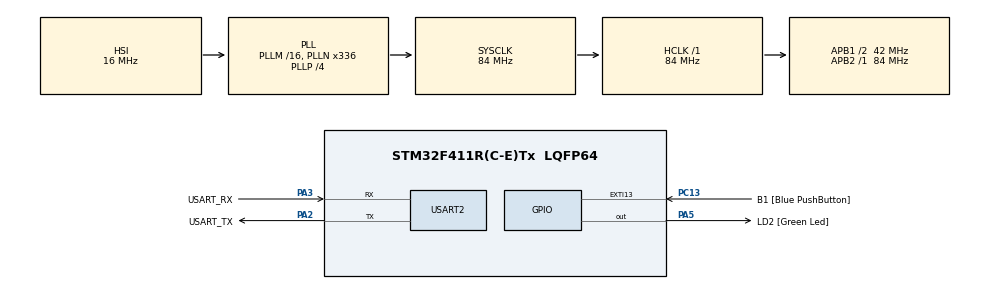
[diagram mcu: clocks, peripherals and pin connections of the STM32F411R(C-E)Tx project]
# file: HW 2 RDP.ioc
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Mcu.Family=STM32F4
Mcu.Name=STM32F411R(C-E)Tx
Mcu.Package=LQFP64
NVIC.PriorityGroup=NVIC_PRIORITYGROUP_0
PA13.GPIO_Label=TMS
PA13.Mode=Serial_Wire
PA13.Signal=SYS_JTMS-SWDIO
PA14.GPIO_Label=TCK
PA14.Mode=Serial_Wire
PA14.Signal=SYS_JTCK-SWCLK
PA2.GPIO_Label=USART_TX
PA2.Mode=Asynchronous
PA2.Signal=USART2_TX
PA3.GPIO_Label=USART_RX
PA3.Mode=Asynchronous
PA3.Signal=USART2_RX
PA5.GPIO_Label=LD2 [Green Led]
PA5.Signal=GPIO_Output
PB3.GPIO_Label=SWO
PB3.Signal=SYS_JTDO-SWO
PC13-ANTI_TAMP.GPIO_Label=B1 [Blue PushButton]
PC13-ANTI_TAMP.GPIO_ModeDefaultEXTI=GPIO_MODE_IT_FALLING
PC13-ANTI_TAMP.Signal=GPXTI13
PC14-OSC32_IN.Mode=LSE-External-Oscillator
PC14-OSC32_IN.Signal=RCC_OSC32_IN
PC15-OSC32_OUT.Mode=LSE-External-Oscillator
PC15-OSC32_OUT.Signal=RCC_OSC32_OUT
PH0\ -\ OSC_IN.Mode=HSE-External-Clock-Source
PH0\ -\ OSC_IN.Signal=RCC_OSC_IN
PH1\ -\ OSC_OUT.Mode=HSE-External-Clock-Source
PH1\ -\ OSC_OUT.Signal=RCC_OSC_OUT
ProjectManager.HeapSize=0x200
ProjectManager.StackSize=0x400
ProjectManager.TargetToolchain=STM32CubeIDE
RCC.48MHZClocksFreq_Value=84000000
RCC.AHBFreq_Value=84000000
RCC.APB1CLKDivider=RCC_HCLK_DIV2
RCC.APB1Freq_Value=42000000
RCC.APB1TimFreq_Value=84000000
RCC.APB2Freq_Value=84000000
RCC.APB2TimFreq_Value=84000000
RCC.CortexFreq_Value=84000000
RCC.FLatency-AdvancedSettings=FLASH_LATENCY_2
RCC.HCLKFreq_Value=84000000
RCC.HSE_VALUE=8000000
RCC.HSI_VALUE=16000000
RCC.PLLN=336
RCC.PLLP=RCC_PLLP_DIV4
RCC.SYSCLKFreq_VALUE=84000000
RCC.SYSCLKSource=RCC_SYSCLKSOURCE_PLLCLK
RCC.VCOOutputFreq_Value=336000000
USART2.VirtualMode=VM_ASYNC
board=NUCLEO-F411RE

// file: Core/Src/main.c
/* USER CODE BEGIN Header */
/**
  ******************************************************************************
  * @file           : main.c
  * @brief          : Main program body
  ******************************************************************************
  * @attention
  *
  * Copyright (c) 2026 STMicroelectronics.
  * All rights reserved.
  *
  * This software is licensed under terms that can be found in the LICENSE file
  * in the root directory of this software component.
  * If no LICENSE file comes with this software, it is provided AS-IS.
  *
  ******************************************************************************
  */
/* USER CODE END Header */
#include "main.h"

/* USER CODE BEGIN Includes */
#include "stm32f4xx_hal_flash.h"
/* USER CODE END Includes */

UART_HandleTypeDef huart2;

void SystemClock_Config(void);
static void MX_GPIO_Init(void);
static void MX_USART2_UART_Init(void);

/* USER CODE BEGIN PFP */

static void Set_RDP_Level1(void);

/* USER CODE END PFP */

/* USER CODE BEGIN 0 */

static void Set_RDP_Level1(void) {
    FLASH_OBProgramInitTypeDef FLASH_OBInitStruct;

    // Разблокировка Flash и Option Bytes
    HAL_FLASH_Unlock();
    HAL_FLASH_OB_Unlock();

    // Получение текущей конфигурации
    HAL_FLASHEx_OBGetConfig(&FLASH_OBInitStruct);

    // Настройка RDP Level 1
    FLASH_OBInitStruct.OptionType = OPTIONBYTE_RDP;
    FLASH_OBInitStruct.RDPLevel = OB_RDP_LEVEL_1;

    // Программирование Option Bytes
    HAL_FLASHEx_OBProgram(&FLASH_OBInitStruct);

    // Запуск загрузки Option Bytes (вызовет сброс)
    HAL_FLASH_OB_Launch();

    // Блокировка (до сюда может не дойти из-за сброса)
    HAL_FLASH_OB_Lock();
    HAL_FLASH_Lock();
}

/* USER CODE END 0 */

int main(void)
{

  /* MCU Configuration--------------------------------------------------------*/

  /* Reset of all peripherals, Initializes the Flash interface and the Systick. */
  HAL_Init();

  /* Configure the system clock */
  SystemClock_Config();

  /* Initialize all configured peripherals */
  MX_GPIO_Init();
  MX_USART2_UART_Init();

  /* Infinite loop */
  /* USER CODE BEGIN WHILE */
  while (1)
  {
      // Проверка кнопки (PC13 - USER Button на Nucleo)
       if(HAL_GPIO_ReadPin(GPIOC, GPIO_PIN_13) == GPIO_PIN_RESET) {
           HAL_Delay(50); // антидребезг
           if(HAL_GPIO_ReadPin(GPIOC, GPIO_PIN_13) == GPIO_PIN_RESET) {
               Set_RDP_Level1();  // Установка защиты
           }
       }

       // Мигаем LED (PA5) - программа работает
       HAL_GPIO_TogglePin(GPIOA, GPIO_PIN_5);
       HAL_Delay(500);
    /* USER CODE END WHILE */

  }
}

void SystemClock_Config(void)
{
  RCC_OscInitTypeDef RCC_OscInitStruct = {0};
  RCC_ClkInitTypeDef RCC_ClkInitStruct = {0};

  /** Configure the main internal regulator output voltage
  */
  __HAL_RCC_PWR_CLK_ENABLE();
  __HAL_PWR_VOLTAGESCALING_CONFIG(PWR_REGULATOR_VOLTAGE_SCALE1);

  /** Initializes the RCC Oscillators according to the specified parameters
  * in the RCC_OscInitTypeDef structure.
  */
  RCC_OscInitStruct.OscillatorType = RCC_OSCILLATORTYPE_HSI;
  RCC_OscInitStruct.HSIState = RCC_HSI_ON;
  RCC_OscInitStruct.HSICalibrationValue = RCC_HSICALIBRATION_DEFAULT;
  RCC_OscInitStruct.PLL.PLLState = RCC_PLL_ON;
  RCC_OscInitStruct.PLL.PLLSource = RCC_PLLSOURCE_HSI;
  RCC_OscInitStruct.PLL.PLLM = 16;
  RCC_OscInitStruct.PLL.PLLN = 336;
  RCC_OscInitStruct.PLL.PLLP = RCC_PLLP_DIV4;
  RCC_OscInitStruct.PLL.PLLQ = 4;
  if (HAL_RCC_OscConfig(&RCC_OscInitStruct) != HAL_OK)
  {
    Error_Handler();
  }

  /** Initializes the CPU, AHB and APB buses clocks
  */
  RCC_ClkInitStruct.ClockType = RCC_CLOCKTYPE_HCLK|RCC_CLOCKTYPE_SYSCLK
                              |RCC_CLOCKTYPE_PCLK1|RCC_CLOCKTYPE_PCLK2;
  RCC_ClkInitStruct.SYSCLKSource = RCC_SYSCLKSOURCE_PLLCLK;
  RCC_ClkInitStruct.AHBCLKDivider = RCC_SYSCLK_DIV1;
  RCC_ClkInitStruct.APB1CLKDivider = RCC_HCLK_DIV2;
  RCC_ClkInitStruct.APB2CLKDivider = RCC_HCLK_DIV1;

  if (HAL_RCC_ClockConfig(&RCC_ClkInitStruct, FLASH_LATENCY_2) != HAL_OK)
  {
    Error_Handler();
  }
}

static void MX_USART2_UART_Init(void)
{

  huart2.Instance = USART2;
  huart2.Init.BaudRate = 115200;
  huart2.Init.WordLength = UART_WORDLENGTH_8B;
  huart2.Init.StopBits = UART_STOPBITS_1;
  huart2.Init.Parity = UART_PARITY_NONE;
  huart2.Init.Mode = UART_MODE_TX_RX;
  huart2.Init.HwFlowCtl = UART_HWCONTROL_NONE;
  huart2.Init.OverSampling = UART_OVERSAMPLING_16;
  if (HAL_UART_Init(&huart2) != HAL_OK)
  {
    Error_Handler();
  }

}

static void MX_GPIO_Init(void)
{
  GPIO_InitTypeDef GPIO_InitStruct = {0};

  /* GPIO Ports Clock Enable */
  __HAL_RCC_GPIOC_CLK_ENABLE();
  __HAL_RCC_GPIOH_CLK_ENABLE();
  __HAL_RCC_GPIOA_CLK_ENABLE();
  __HAL_RCC_GPIOB_CLK_ENABLE();

  /*Configure GPIO pin Output Level */
  HAL_GPIO_WritePin(LD2_GPIO_Port, LD2_Pin, GPIO_PIN_RESET);

  /*Configure GPIO pin : B1_Pin */
  GPIO_InitStruct.Pin = B1_Pin;
  GPIO_InitStruct.Mode = GPIO_MODE_IT_FALLING;
  GPIO_InitStruct.Pull = GPIO_NOPULL;
  HAL_GPIO_Init(B1_GPIO_Port, &GPIO_InitStruct);

  /*Configure GPIO pin : LD2_Pin */
  GPIO_InitStruct.Pin = LD2_Pin;
  GPIO_InitStruct.Mode = GPIO_MODE_OUTPUT_PP;
  GPIO_InitStruct.Pull = GPIO_NOPULL;
  GPIO_InitStruct.Speed = GPIO_SPEED_FREQ_LOW;
  HAL_GPIO_Init(LD2_GPIO_Port, &GPIO_InitStruct);

}

void Error_Handler(void)
{
  __disable_irq();
  while (1)
  {
  }
}
